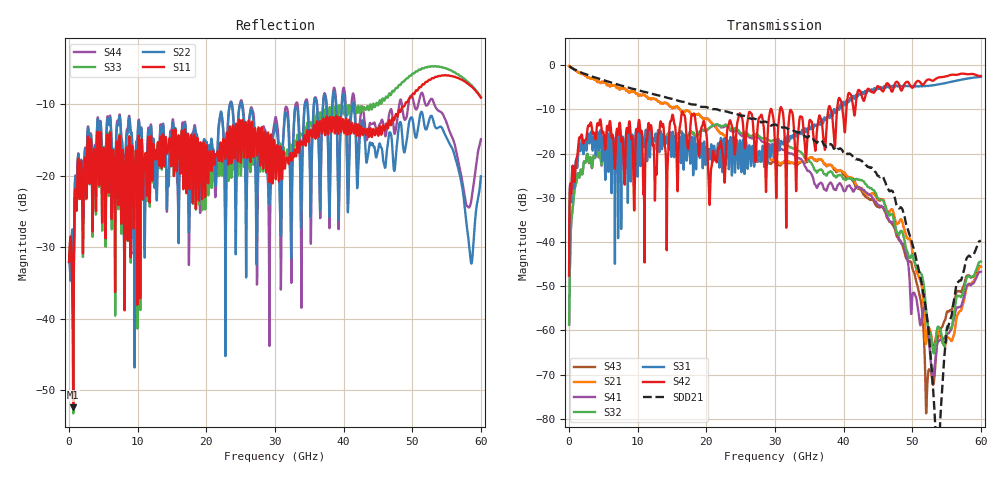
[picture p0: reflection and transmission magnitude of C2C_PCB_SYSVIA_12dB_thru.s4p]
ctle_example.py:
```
"""
Example of CTLE model
"""

import serdespy as sdp
import skrf as rf
import numpy as np
import scipy as sp
import matplotlib.pyplot as plt

#define ctle
rx_bw = 8e8
peak_freq = 8e8

peak_mag = 12
dc_offset = 0

#calculating pole and zero frequencies of CTLE TF for desired peaking and gain
p2 = -2.0 * np.pi * rx_bw
p1 = -2.0 * np.pi * peak_freq
z = p1 / pow(10.0, peak_mag / 20.0)

#calculating coefficients of transfer function in standard form
b,a = sp.signal.zpk2tf([z],[p1, p2],1)
b *= 1/(b[-1]/a[-1])

#define channel response
#network = rf.Network('./touchstone/DPO_4in_Meg7_THRU.s4p')
network = rf.Network('../touchstone/C2C_PCB_SYSVIA_12dB_thru.s4p')

port_def = np.array([[0, 1],[2, 3]])
H,f,h,t = sdp.four_port_to_diff(network,port_def)
nyquist_f = 26.56e9
nyquist_T = 1/nyquist_f
oversampling_ratio = 64
samples_per_symbol = int(round(oversampling_ratio/2))
t_d = nyquist_T/oversampling_ratio
H, f, h, t = sdp.zero_pad(H,f,t_d)

#frequency vector in rad/s
w = f/(2*np.pi)

#calculate Frequency response of CTLE at given frequencies
w, H_ctle = sp.signal.freqs(b, a, w)

#magnitude of Frequency response of transfer function for given frequencies
mag = 20*np.log10(H_ctle)


#plot frequency response of channel and ctle
plt.figure()
plt.semilogx(1e-9*f,20*np.log10(abs(H)), label = "Channel Response")
plt.ylabel('Mag. Response [dB]')
plt.xlabel('Frequency [GHz]')


plt.semilogx(1e-9*f, mag, label = "CTLE Response")
plt.axvline(x=26.56,color = 'grey', label = "Nyquist Frequency")
plt.legend()
plt.grid()
plt.xlim([1e-1,1e3])
plt.ylim([-25,10])
plt.title("Magnitude [dB] Bode Plot")
plt.savefig('CTLE1.png')

plt.figure()
plt.semilogx(1e-9*f,abs(H), label = "Channel Response")
plt.ylabel('Mag. Response')
plt.xlabel('Frequency [GHz]')
plt.title("Magnitude Bode Plot")

plt.semilogx(1e-9*f,abs(H_ctle), label = "CTLE Response")
plt.axvline(x=26.56,color = 'grey', label = "Nyquist Frequency")
plt.legend()
plt.xlim([1e-1,1e3])
plt.grid()
plt.savefig('CTLE2.png')
#%% compute and plot impulse response of CTLE
h_ctle, t_ctle = sdp.freq2impulse(H_ctle,f)

#plt.figure()
#plt.plot(t_ctle*1e9,h_ctle)
#plt.title("Full CTLE Impulse Response")
#plt.ylabel('CTLE Impulse Response [V]')
#plt.xlabel('Time [ns]')


#take start of CTLE impulse response for faster convoulition (reflection at end of impulse response is not physically real)

h_ctle = h_ctle[:100]
t_ctle = t_ctle[:100]

#pl#t.figure()
#pl#t.plot(t_ctle*1e12,h_ctle)
#p#lt.title("Start of CTLE Impulse Response")
#plt.ylabel('CTLE Impulse Response [V]')
#plt.xlabel('Time [ps]')
#plt.xlim([-5,])


#%% measure precursor and postcursor from pulse response

n_taps_post = 10
n_taps_pre = 3
n_taps = n_taps_post+n_taps_pre+1

pulse_input = np.ones(samples_per_symbol)

ch_pulse_response = sp.signal.fftconvolve(h, pulse_input)
ch_pulse_response = ch_pulse_response[:t.size]

plt.figure()
plt.plot(t,ch_pulse_response)
plt.title("channel pulse response")
channel_coefficients =  sdp.channel_coefficients(ch_pulse_response, t, samples_per_symbol, n_taps_pre, n_taps_post) 

ch_ctle_pulse_response = sp.signal.fftconvolve(ch_pulse_response, h_ctle)
ch_ctle_pulse_response = ch_ctle_pulse_response[:t.size]

plt.figure()
plt.plot(t,ch_ctle_pulse_response)
plt.title("channel + ctle pulse response")

channel_coefficients =  sdp.channel_coefficients(ch_ctle_pulse_response, t, samples_per_symbol, n_taps_pre, n_taps_post) 

#%% solve for zero-forcing FFE tap weights
    
A = np.zeros((n_taps,n_taps))

for i in range(n_taps):
    A += np.diag(np.ones(n_taps-abs(i-n_taps_pre))*channel_coefficients[i],(n_taps_pre-i) )

C = np.zeros((n_taps,1))
C[n_taps_pre] = 1

B = np.linalg.inv(A)@C

B = B/np.sum(abs(B))

ffe_tap_weights = B.T[0]

#%%create TX waveform

data_in = sdp.prbs13(1)

#define voltage levels for 0 and 1 bits
voltage_levels = np.array([-0.5, 0.5])

#convert data_in to time domain signal
signal_in = sdp.nrz_input(samples_per_symbol, data_in, voltage_levels)

sdp.simple_eye(signal_in, samples_per_symbol*3, 1000, t[1], "nrz tx wf")

#do convolution to get differential channel response
signal_output = sp.signal.fftconvolve(signal_in, h, mode = 'same')
#signal_output = signal_output[0:h.size]

sig = sdp.Receiver(signal_output[6000:], samples_per_symbol, t[1], voltage_levels)


#%% plot eye diagrams with FFE 

#no FFE
sig.reset()
sdp.simple_eye(sig.signal, sig.samples_per_symbol*2, 1000, sig.t_step, "NRZ Eye, 53 Gbit/s")
plt.savefig('CTLE3.png')
np.save("nrz_eye",sig.signal)

sig.CTLE(b,a,f)
sdp.simple_eye(sig.signal, sig.samples_per_symbol*2, 1000, sig.t_step, "NRZ Eye, 53 Gbit/s with CTLE")
plt.savefig('CTLE4.png')
np.save("nrz_eye_ctle",sig.signal)

#with FFE and computed weights
sig.FFE(ffe_tap_weights,n_taps_pre)
sdp.simple_eye(sig.signal[32*10:], sig.samples_per_symbol*2, 1000, sig.t_step, "NRZ Eye, 53 Gbit/s with CTLE and Zero-Forcing FFE")
plt.savefig('CTLE5.png')
np.save("nrz_eye_ctle_ffe",sig.signal)
#%%create TX waveform

#compute input data using PRQS10
data_in = sdp.prqs10(1)

#take first 10k bits for faster simulation
data_in = data_in[:10000]

#define voltage levels for 0 and 1 bits
voltage_levels = np.array([-3, -1, 1, 3])

#convert data_in to time domain signal
signal_in = sdp.pam4_input(samples_per_symbol, data_in, voltage_levels)
sdp.simple_eye(signal_in, samples_per_symbol*3, 1000, t[1], "pam4 tx wf")
#do convolution to get differential channel response
signal_output = sp.signal.fftconvolve(signal_in, h, mode = 'same')

#define signal object for this signal, crop out first bit of signal which is 0 due to channel latency
sig = sdp.Receiver(signal_output[5000:], samples_per_symbol, t[1], voltage_levels)

#%%sig.reset()
sdp.simple_eye(sig.signal, sig.samples_per_symbol*2, 1000, sig.t_step, "PAM-4 Eye, 106 Gbit/s")
plt.savefig('CTLE6.png')

sig.CTLE(b,a,f)
sdp.simple_eye(sig.signal, sig.samples_per_symbol*2, 1000, sig.t_step, "PAM-4 Eye, 106 Gbit/s with CTLE")
plt.savefig('CTLE7.png')
np.save("pam4_eye_ctle",sig.signal)

#with FFE and computed weights
sig.FFE(ffe_tap_weights,n_taps_pre)
sdp.simple_eye(sig.signal, sig.samples_per_symbol*2, 1000, sig.t_step, "PAM-4 Eye, 106 Gbit/s with CTLE and Zero-Forcing FFE")
plt.savefig('CTLE8.png')
```
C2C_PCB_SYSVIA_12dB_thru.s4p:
!$Gore$
!C2C PCB Topology at Nominal
!Tuned Ballou BGA and Tuned Mayfield BOR
!Created with Channel Assembly Tool v1.0.4
# Hz S RI R 50
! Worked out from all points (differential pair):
!   6000 points, 10 MHz to 60 GHz, reference 50 ohm
!   strongest paths, dB at 10 MHz, 15.01 GHz, 30.01 GHz, 45.01 GHz, 60 GHz:
!     S42: -47.6, -11.4, -18.8, -4.8, -2.5
!     S31: -47.6, -17.0, -17.0, -5.1, -2.7
!     S32: -58.7, -15.4, -16.9, -30.1, -44.5
!     S41: -58.7, -15.7, -18.3, -31.5, -46.7
!     S21: -0.2, -9.7, -21.3, -30.5, -45.5
!     S43: -0.2, -9.7, -21.9, -32.1, -45.6
!   taken as a pair (ports 1,3 in; 2,4 out), SDD21 dB: -0.2, -7.6, -13.4, -25.0, -39.7
!   lowest |S11| = -52.4 dB at 610 MHz (marker M1), VSWR 1.00, Z = 50.2 - j0.0673 ohm
!   |S11| at or under -10 dB: start of sweep to 48.94 GHz
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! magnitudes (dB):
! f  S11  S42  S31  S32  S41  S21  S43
! 10 MHz  -32.0  -47.6  -47.6  -58.7  -58.7  -0.2  -0.2
! 610 MHz  -52.4  -23.5  -23.8  -30.8  -30.8  -0.9  -0.9
! 60 GHz  -9.1  -2.5  -2.7  -44.5  -46.7  -45.5  -45.6
